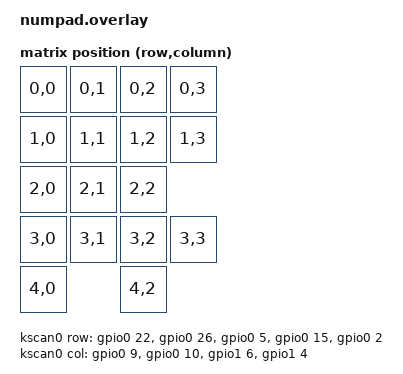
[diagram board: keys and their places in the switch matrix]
#include <dt-bindings/zmk/matrix_transform.h>
#include <dt-bindings/led/led.h>
#include <zephyr/dt-bindings/input/input-event-codes.h>
#include <dt-bindings/zmk/pointing.h>
#include <dt-bindings/zmk/input_transform.h>
#include "numpad-layouts.dtsi"


&physical_layout0 {
    transform = <&default_transform>;
};

/ {
    chosen {
        zmk,kscan = &kscan0;
        zmk,physical-layout = &physical_layout0;
        zmk,studio-rpc-uart = &uart0;
        zmk,underglow = &led_strip;
    };

    kscan0: kscan {
        compatible = "zmk,kscan-gpio-matrix";
        wakeup-source;

        diode-direction = "col2row";
        row-gpios
            = <&gpio0 22 (GPIO_ACTIVE_HIGH | GPIO_PULL_DOWN)>
            , <&gpio0 26 (GPIO_ACTIVE_HIGH | GPIO_PULL_DOWN)>
            , <&gpio0 5 (GPIO_ACTIVE_HIGH | GPIO_PULL_DOWN)>
            , <&gpio0 15 (GPIO_ACTIVE_HIGH | GPIO_PULL_DOWN)>
            , <&gpio0 2  (GPIO_ACTIVE_HIGH | GPIO_PULL_DOWN)>
            ;
        col-gpios
            = <&gpio0 9 GPIO_ACTIVE_HIGH>
            , <&gpio0 10 GPIO_ACTIVE_HIGH>
            , <&gpio1 6 GPIO_ACTIVE_HIGH>
            , <&gpio1 4 GPIO_ACTIVE_HIGH>
            ;
    };

    default_transform: matrix_transform {
        compatible = "zmk,matrix-transform";
        rows = <5>;
        columns = <4>;
        // ┌───┬───┬───┬───┐
        // │NUM│ / │ * │ - │
        // ├───┼───┼───┼───┤
        // │ 7 │ 8 │ 9 │ + │
        // ├───┼───┼───┤   │
        // │ 4 │ 5 │ 6 │   │
        // ├───┼───┼───┼───┤
        // │ 1 │ 2 │ 3 │RET│
        // ├───┴───┼───┤   │
        // │ 0     │ . │   │
        // └───────┴───┴───┘
        map = <
            RC(0,0) RC(0,1) RC(0,2) RC(0,3)
            RC(1,0) RC(1,1) RC(1,2) RC(1,3)
            RC(2,0) RC(2,1) RC(2,2)
            RC(3,0) RC(3,1) RC(3,2) RC(3,3)
            RC(4,0)         RC(4,2)
        >;
    };
};

//ws2812
&pinctrl {
    spi3_default: spi3_default {
        group1 {
            psels = <NRF_PSEL(SPIM_MOSI, 0, 24)>;
        };
    };

    spi3_sleep: spi3_sleep {
        group1 {
            psels = <NRF_PSEL(SPIM_MOSI, 0, 24)>;
            low-power-enable;
        };
    };
};

&spi3 {
    compatible = "nordic,nrf-spim";
    status = "okay";

    pinctrl-0 = <&spi3_default>;
    pinctrl-1 = <&spi3_sleep>;
    pinctrl-names = "default", "sleep";

    led_strip: ws2812@0 {
        compatible = "worldsemi,ws2812-spi";

        /* SPI */
        reg = <0>; /* ignored, but necessary for SPI bindings */
        spi-max-frequency = <4000000>;

        /* WS2812 */
        chain-length = <17>; /* arbitrary; change at will */
        spi-one-frame = <0x70>;
        spi-zero-frame = <0x40>;

        color-mapping = <LED_COLOR_ID_GREEN LED_COLOR_ID_RED LED_COLOR_ID_BLUE>;
    };
};

//pmw3610
//oled
